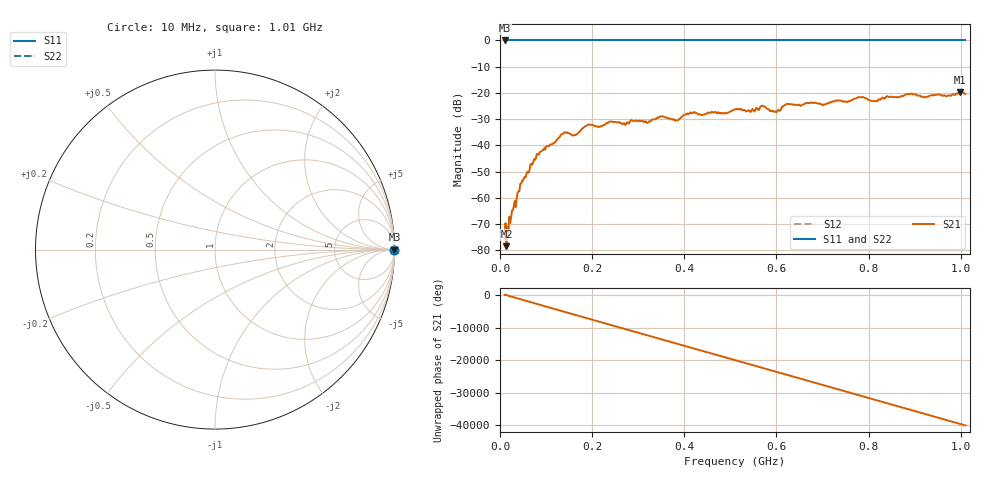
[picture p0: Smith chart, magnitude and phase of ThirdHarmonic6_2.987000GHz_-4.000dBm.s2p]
! 8/17/2025 8:30:03 AM
! C:\ANRITSUVNA\TEMP\TEMP.S2P
! CHANNEL.1
! TR.MEASUREMENT
! RAW.DATA
! RF.CORRECTION.OFF
! AVERAGING.OFF
! IF.BANDWIDTH: 5KHZ
! SWEEPTYPE:  FREQ.SWEEP(Linear)
! Reference Plane Port Info
! PORT:  PORT1  PORT2
! DISTANCE:  0  m  0  m
! TIME:  0  s  0  s
! PHASE.OFFSET:  0  deg.  0  deg.
! LOSS:  0  dB  0  dB
! REF.LOSS:  0  dB  0  dB
! REF.FREQ:  0  Hz  0  Hz
! Power Info
! POWER:  -20  dBm  -20  dBm
! EFF.POWER:  -20  dBm  -20  dBm
! SOURCE.ATTEN:  0  dB  0  dB
! TEST.ATTEN:  0  dB  0  dB
# GHZ S RI R 50.0
! FREQ.GHZ  S11RE  S11IM  S21RE  S21IM  S12RE  S12IM  S22RE  S22IM
!; PortSelection: Port_12
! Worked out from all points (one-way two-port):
!   501 points, 10 MHz to 1.01 GHz, reference 50 ohm
!   highest |S21| = -19.70 dB at 998 MHz (marker M1); lowest = -78.4 dB at 14 MHz (marker M2)
!   lowest |S11| = 0.0 dB at 10 MHz (marker M3)
!   |S11| at or under -10 dB: nowhere
!   |S22| runs from 0.0 to 0.0 dB; largest |S21 - S12| = 1.1
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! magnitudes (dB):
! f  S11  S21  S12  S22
! 10 MHz  0.0  -75.6  0.0  0.0
! 14 MHz  0.0  -78.4  0.0  0.0
! 44 MHz  0.0  -54.6  0.0  0.0
! 78 MHz  0.0  -44.9  0.0  0.0
! 136 MHz  0.0  -35.7  0.0  0.0
! 162 MHz  0.0  -36.1  0.0  0.0
! 178 MHz  0.0  -33.7  0.0  0.0
! 322 MHz  0.0  -31.1  0.0  0.0
! 344 MHz  0.0  -29.5  0.0  0.0
! 384 MHz  0.0  -30.5  0.0  0.0
! 416 MHz  0.0  -27.7  0.0  0.0
! 510 MHz  0.0  -26.3  0.0  0.0
! 548 MHz  0.0  -26.1  0.0  0.0
! 570 MHz  0.0  -24.9  0.0  0.0
! 598 MHz  0.0  -27.1  0.0  0.0
! 622 MHz  0.0  -24.2  0.0  0.0
! 678 MHz  0.0  -23.7  0.0  0.0
! 782 MHz  0.0  -21.6  0.0  0.0
! 814 MHz  0.0  -23.1  0.0  0.0
! 844 MHz  0.0  -21.6  0.0  0.0
! 998 MHz  0.0  -19.7  0.0  0.0
! 1.01 GHz  0.0  -20.4  0.0  0.0
